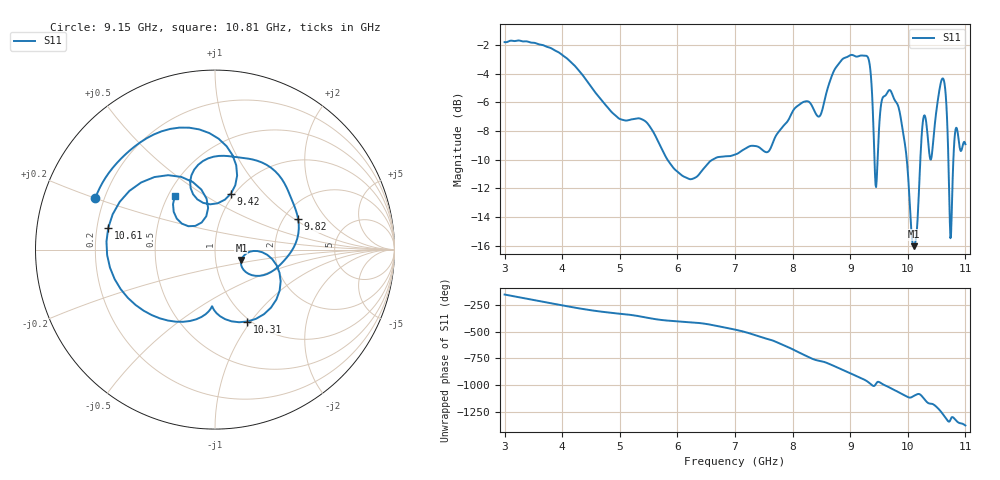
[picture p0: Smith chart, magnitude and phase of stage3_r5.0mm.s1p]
# GHz S DB R 50
! openEMS Stage 3 Simulation: r5.0mm
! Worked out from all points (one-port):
!   801 points, 3 GHz to 11 GHz, reference 50 ohm
!   lowest |S11| = -16.0 dB at 10.1 GHz (marker M1), VSWR 1.38, Z = 66.7 - j7.83 ohm
!   |S11| at or under -10 dB: 5.827 GHz to 6.61 GHz (782.6 MHz wide, 12.6 % of centre); 9.983 GHz to 10.22 GHz (235.3 MHz wide, 2.33 % of centre); 10.7 GHz to 10.79 GHz (86.74 MHz wide, 0.807 % of centre)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
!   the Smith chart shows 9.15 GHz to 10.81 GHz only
!   S11 on the Smith chart (normalised r, x): 9.15 GHz: 0.17, +0.20; 9.42 GHz: 0.96, +0.67; 9.82 GHz: 2.38, +1.08; 10.31 GHz: 0.97, -0.96; 10.61 GHz: 0.25, +0.09; 10.81 GHz: 0.54, +0.37
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3  -1.81 -152.0
3.46  -1.84 161.3
4  -2.70 107.0
4.45  -4.64 65.0
5  -7.16 28.6
6  -10.83 -42.9
7  -9.64 -119.9
7.64  -8.99 140.8
8  -6.64 56.2
8.25  -5.92 -10.0
8.69  -4.06 -93.3
9  -2.72 -167.9
9.15  -2.78 156.7
9.31  -2.89 110.4
9.42  -9.77 74.1
9.51  -7.25 107.6
9.63  -5.43 72.4
9.82  -6.13 20.2
10  -10.83 -30.6
10.1  -16.03 -21.2
10.2  -11.59 -3.2
10.31  -7.14 -65.8
10.51  -6.18 -128.7
10.61  -4.34 168.5
10.67  -6.20 122.2
10.74  -15.48 116.2
10.81  -8.60 127.1
11  -8.92 63.4
